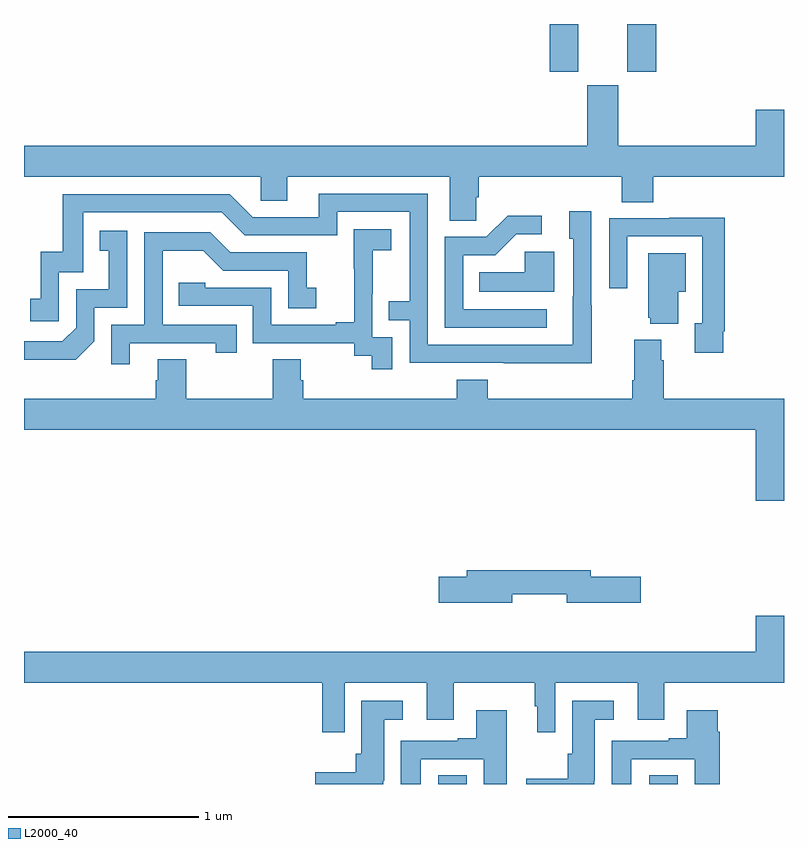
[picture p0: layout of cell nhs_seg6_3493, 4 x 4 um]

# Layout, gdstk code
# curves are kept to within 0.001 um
import gdstk
lib = gdstk.Library(unit=1e-6, precision=1e-09)
def R(c, l, rs):  # rectangles x0, y0, x1, y1
    for r in rs: c.add(gdstk.rectangle(r[:2], r[2:], *l))
def P(c, l, *ps):  # polygons
    for p in ps: c.add(gdstk.Polygon(p, *l))
L2000_40 = (2000, 40)

nhs_seg6_3493 = lib.new_cell('nhs_seg6_3493')
R(nhs_seg6_3493, L2000_40, [(319.181,917.5,319.33,917.546), (320.291,917.5,320.44,917.546), (319.766,921.249,319.918,921.5), (320.174,921.249,320.327,921.5)])
P(nhs_seg6_3493, L2000_40, [(319.38,920.587),(319.394,920.587),(319.394,920.696),(320.147,920.696),(320.147,920.563),(320.312,920.563),(320.312,920.696),(321,920.696),(321,921.049),(320.852,921.049),(320.852,920.86),(320.128,920.86),(320.128,921.177),(319.964,921.177),(319.964,920.86),(317,920.86),(317,920.696),(318.246,920.696),(318.246,920.569),(318.385,920.569),(318.385,920.696),(319.241,920.696),(319.241,920.464),(319.38,920.464)],
  [(319.989,920.021),(319.986,920.021),(319.986,920.515),(319.871,920.515),(319.871,920.37),(319.89,920.37),(319.889,919.812),(319.125,919.812),(319.125,920.607),(318.551,920.607),(318.551,920.484),(318.204,920.484),(318.084,920.604),(317.205,920.604),(317.205,920.302),(317.087,920.302),(317.087,920.055),(317.034,920.055),(317.034,919.935),(317.184,919.935),(317.184,920.193),(317.313,920.193),(317.313,920.508),(318.042,920.508),(318.162,920.388),(318.648,920.388),(318.648,920.511),(319.029,920.511),(319.029,920.042),(318.919,920.042),(318.919,919.941),(319.029,919.941),(319.029,919.716),(319.989,919.715)],
  [(319.75,919.998),(319.311,919.998),(319.311,920.283),(319.48,920.283),(319.591,920.394),(319.726,920.394),(319.726,920.492),(319.547,920.492),(319.434,920.379),(319.215,920.379),(319.215,919.902),(319.75,919.902)],
  [(320.68,919.882),(320.687,919.882),(320.687,920.48),(320.395,920.48),(320.395,920.478),(320.079,920.478),(320.079,920.109),(320.175,920.109),(320.175,920.382),(320.571,920.382),(320.571,919.926),(320.531,919.926),(320.531,919.77),(320.68,919.77)],
  [(318.939,919.851),(318.834,919.851),(318.834,920.081),(318.836,920.081),(318.836,920.309),(318.934,920.309),(318.934,920.419),(318.736,920.419),(318.736,920.213),(318.737,920.213),(318.737,919.93),(318.641,919.93),(318.641,919.917),(318.3,919.917),(318.3,920.112),(317.955,920.112),(317.955,920.139),(317.815,920.139),(317.815,920.016),(318.204,920.016),(318.204,919.821),(318.738,919.821),(318.738,919.753),(318.831,919.753),(318.831,919.683),(318.939,919.683)],
  [(317.37,919.83),(317.37,920.007),(317.544,920.007),(317.544,920.413),(317.398,920.413),(317.398,920.307),(317.447,920.307),(317.447,920.103),(317.274,920.103),(317.274,919.902),(317.202,919.83),(317,919.83),(317,919.733),(317.272,919.733)],
  [(317.557,919.821),(318.008,919.821),(318.008,919.77),(318.119,919.77),(318.119,919.917),(317.73,919.917),(317.73,920.306),(317.944,920.306),(318.048,920.202),(318.39,920.202),(318.39,920.004),(318.538,920.004),(318.538,920.113),(318.489,920.113),(318.489,920.298),(318.085,920.298),(317.98,920.403),(317.634,920.403),(317.634,919.917),(317.46,919.917),(317.46,919.71),(317.557,919.71)],
  [(319.792,920.302),(319.635,920.302),(319.635,920.194),(319.396,920.194),(319.396,920.09),(319.792,920.09)],
  [(320.443,920.09),(320.482,920.09),(320.482,920.293),(320.285,920.293),(320.285,919.953),(320.297,919.953),(320.297,919.922),(320.443,919.922)],
  [(321,919.528),(320.366,919.528),(320.366,919.73),(320.353,919.73),(320.353,919.837),(320.213,919.837),(320.213,919.624),(320.201,919.624),(320.201,919.528),(319.442,919.528),(319.442,919.627),(319.277,919.627),(319.277,919.528),(318.47,919.528),(318.47,919.626),(318.457,919.626),(318.457,919.736),(318.31,919.736),(318.31,919.528),(317.853,919.528),(317.853,919.736),(317.705,919.736),(317.705,919.626),(317.693,919.626),(317.693,919.528),(317,919.528),(317,919.364),(320.852,919.364),(320.852,918.99),(321,918.99)],
  [(319.57,918.498),(319.856,918.498),(319.856,918.455),(320.245,918.455),(320.245,918.59),(319.984,918.59),(319.984,918.626),(319.331,918.626),(319.331,918.59),(319.182,918.59),(319.182,918.455),(319.57,918.455)],
  [(318.687,918.032),(319.121,918.032),(319.121,917.838),(319.261,917.838),(319.261,918.032),(319.689,918.032),(319.689,917.91),(319.7,917.91),(319.7,917.772),(319.797,917.772),(319.797,918.032),(320.231,918.032),(320.231,917.838),(320.371,917.838),(320.371,918.032),(321,918.032),(321,918.385),(320.852,918.385),(320.852,918.196),(317,918.196),(317,918.032),(318.571,918.032),(318.571,917.772),(318.687,917.772)],
  [(318.891,917.518),(318.895,917.518),(318.895,917.837),(318.994,917.837),(318.994,917.938),(318.776,917.938),(318.776,917.658),(318.746,917.658),(318.746,917.563),(318.534,917.563),(318.534,917.5),(318.891,917.5)],
  [(320.001,917.518),(320.005,917.518),(320.005,917.837),(320.104,917.837),(320.104,917.938),(319.886,917.938),(319.886,917.658),(319.861,917.658),(319.861,917.527),(319.644,917.527),(319.644,917.5),(320.001,917.5)],
  [(320.197,917.631),(320.531,917.631),(320.531,917.5),(320.663,917.5),(320.663,917.774),(320.65,917.774),(320.65,917.887),(320.489,917.887),(320.489,917.74),(320.393,917.74),(320.393,917.727),(320.093,917.727),(320.093,917.5),(320.197,917.5)],
  [(319.087,917.631),(319.421,917.631),(319.421,917.5),(319.54,917.5),(319.54,917.887),(319.379,917.887),(319.379,917.74),(319.283,917.74),(319.283,917.727),(318.983,917.727),(318.983,917.5),(319.087,917.5)])

lib.write_gds('nhs_seg6_3493.gds')
